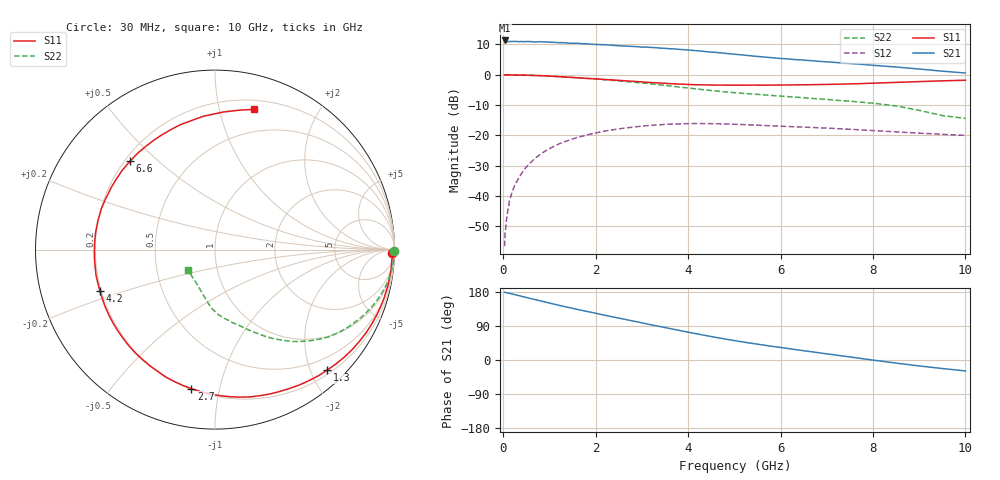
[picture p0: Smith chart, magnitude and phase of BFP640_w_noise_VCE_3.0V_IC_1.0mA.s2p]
! (c) 2013  Infineon Technologies AG, Munich
! Infineon Technologies  Discrete & RF Semiconductors
! BFP640
! VCE =  3.0 V,  IC =  1.0 mA
! Common Emitter S-Parameters:  Apr 2013
# GHz  S  MA  R  50
!  f  S11  S21  S12  S22
! GHz  MAG  ANG  MAG  ANG  MAG  ANG  MAG  ANG
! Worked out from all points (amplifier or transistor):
!   99 points, 30 MHz to 10 GHz, reference 50 ohm
!   highest |S21| = 11.3 dB at 30 MHz (marker M1)
!   |S21| within 3 dB of that: start of sweep to 3.871 GHz
!   unconditionally stable (mu >= 1): 7.024 GHz to end of sweep
!   at 350 MHz: K = 0.00, MSG = 22.3 dB, |S12| = -33.6 dB
!   at 3.5 GHz: K = 0.44, MSG = 12.5 dB, |S12| = -16.4 dB
!   at 10 GHz: K = 1.45, MAG = 6.3 dB, |S12| = -20.0 dB
!   lowest NFmin = 0.65 dB at 450 MHz
!   S11 on the Smith chart (normalised r, x): 30 MHz: 48, -72; 1.3 GHz: 0.27, -2.27; 2.7 GHz: 0.20, -0.82; 4.2 GHz: 0.19, -0.17; 6.6 GHz: 0.22, +0.41; 10 GHz: 0.28, +1.28
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0.03  0.9873 -1.1  3.657 178.7  0.0015 84.0  0.999 -0.5
0.04  0.9879 -1.4  3.458 178.4  0.0026 89.6  0.9996 -0.7
0.13  0.9873 -4.6  3.494 176.0  0.0083 83.6  0.9981 -2.4
0.25  0.9851 -8.9  3.522 172.5  0.0151 86.4  0.9949 -4.5
0.35  0.9832 -12.5  3.493 169.6  0.0208 84.1  0.9916 -6.2
0.8  0.961 -28.8  3.489 156.1  0.0486 73.1  0.9642 -13.8
1.3  0.9174 -47.1  3.363 141.7  0.0773 60.4  0.9194 -21.7
1.7  0.8784 -61.6  3.243 131.0  0.0966 51.2  0.8786 -27.4
2.2  0.8334 -80.5  3.108 118.0  0.1178 39.8  0.8252 -34.3
2.7  0.7861 -99.6  2.947 105.6  0.1339 29.5  0.7673 -40.5
3.1  0.7494 -115.5  2.845 95.4  0.1443 21.6  0.7179 -45.3
3.4  0.7272 -127.6  2.734 88.1  0.1497 15.7  0.6772 -49.1
3.7  0.7059 -139.9  2.651 80.7  0.1541 10.1  0.6411 -52.3
4.2  0.6821 -160.1  2.47 68.7  0.157 1.1  0.5808 -57.9
4.6  0.6736 -175.2  2.327 59.6  0.1557 -5.3  0.5397 -61.7
5.1  0.671 168.7  2.14 49.3  0.1518 -12.3  0.4996 -65.8
5.8  0.6724 150.8  1.907 36.4  0.1436 -19.9  0.4541 -70.8
6.6  0.6828 133.8  1.711 22.9  0.1358 -26.7  0.4105 -77.6
6.7  0.6849 131.7  1.693 21.3  0.1349 -27.5  0.4057 -78.5
7.7  0.711 110.8  1.491 4.7  0.1237 -34.3  0.3536 -88.3
8.5  0.7461 94.9  1.335 -8.2  0.1143 -38.0  0.3054 -96.6
10  0.8104 74.5  1.065 -28.8  0.1001 -38.8  0.1905 -142.4
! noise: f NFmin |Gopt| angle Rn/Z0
0.45  0.65  0.65  13  0.46
0.9  0.72  0.66  25  0.45
1.5  0.9  0.57  42  0.42
1.9  0.97  0.53  56  0.41
2.4  1.04  0.5  66  0.39
3.5  1.24  0.43  95  0.34
5.5  1.75  0.38  -177  0.34
10  3.04  0.68  -70  1.23
